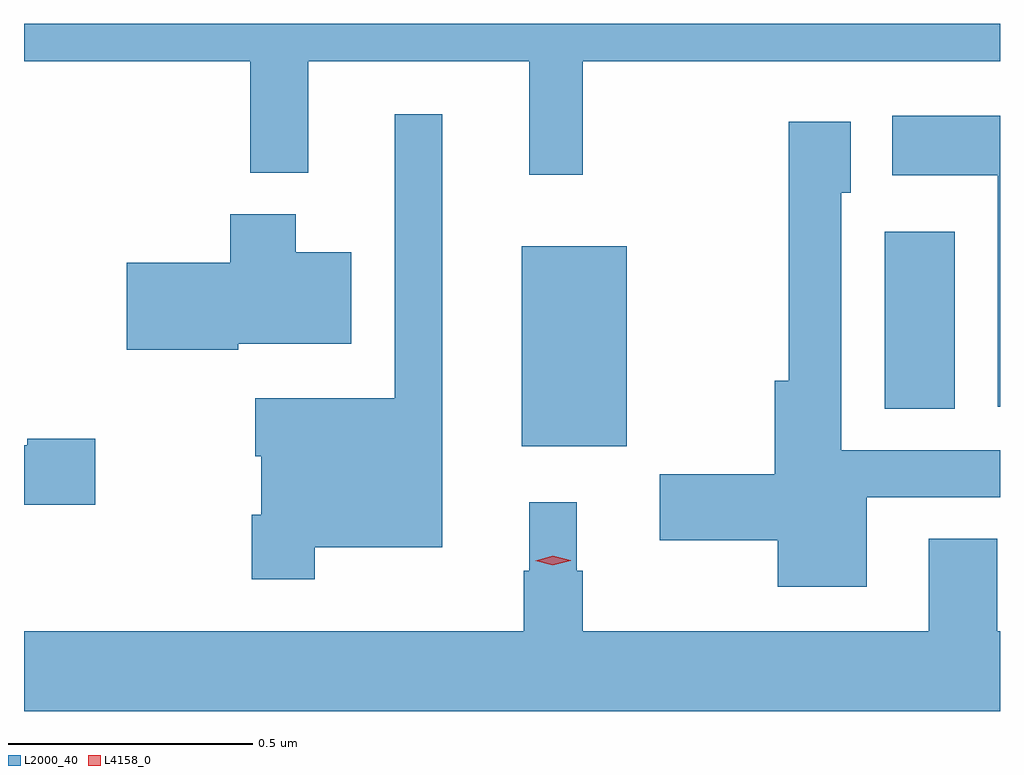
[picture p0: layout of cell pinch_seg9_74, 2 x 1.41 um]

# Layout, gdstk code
import gdstk
lib = gdstk.Library(unit=1e-6, precision=1e-09)
def R(c, l, rs):  # rectangles x0, y0, x1, y1
    for r in rs: c.add(gdstk.rectangle(r[:2], r[2:], *l))
def P(c, l, *ps):  # polygons
    for p in ps: c.add(gdstk.Polygon(p, *l))
L2000_40 = (2000, 40)
L4158_0 = (4158, 0)

pinch_seg9_74 = lib.new_cell('pinch_seg9_74')
R(pinch_seg9_74, L2000_40, [(1017.533,1194.299,1017.748,1194.709), (1018.277,1194.376,1018.42,1194.739)])
P(pinch_seg9_74, L2000_40, [(1017.658,1195.088),(1018.513,1195.088),(1018.513,1195.165),(1016.513,1195.165),(1016.513,1195.088),(1016.977,1195.088),(1016.977,1194.86),(1017.095,1194.86),(1017.095,1195.088),(1017.548,1195.088),(1017.548,1194.855),(1017.658,1194.855)],
  [(1017.109,1194.092),(1017.37,1194.092),(1017.37,1194.979),(1017.273,1194.979),(1017.273,1194.397),(1016.987,1194.397),(1016.987,1194.279),(1016.999,1194.279),(1016.999,1194.159),(1016.98,1194.159),(1016.98,1194.027),(1017.109,1194.027)],
  [(1018.513,1194.976),(1018.292,1194.976),(1018.292,1194.854),(1018.508,1194.854),(1018.508,1194.38),(1018.513,1194.38)],
  [(1018.24,1194.195),(1018.513,1194.195),(1018.513,1194.291),(1018.188,1194.291),(1018.188,1194.819),(1018.207,1194.819),(1018.207,1194.964),(1018.08,1194.964),(1018.08,1194.433),(1018.051,1194.433),(1018.051,1194.242),(1017.816,1194.242),(1017.816,1194.107),(1018.058,1194.107),(1018.058,1194.011),(1018.24,1194.011)],
  [(1016.952,1194.509),(1017.184,1194.509),(1017.184,1194.697),(1017.07,1194.697),(1017.07,1194.775),(1016.936,1194.775),(1016.936,1194.675),(1016.724,1194.675),(1016.724,1194.497),(1016.952,1194.497)],
  [(1016.659,1194.314),(1016.52,1194.314),(1016.52,1194.301),(1016.513,1194.301),(1016.513,1194.179),(1016.659,1194.179)],
  [(1018.513,1193.92),(1018.507,1193.92),(1018.507,1194.11),(1018.367,1194.11),(1018.367,1193.92),(1017.658,1193.92),(1017.658,1194.044),(1017.646,1194.044),(1017.646,1194.184),(1017.548,1194.184),(1017.548,1194.044),(1017.537,1194.044),(1017.537,1193.92),(1016.513,1193.92),(1016.513,1193.756),(1018.513,1193.756)])
P(pinch_seg9_74, L4158_0, [(1017.597,1194.055),(1017.561,1194.064),(1017.561,1194.064),(1017.561,1194.064),(1017.597,1194.075),(1017.633,1194.066),(1017.633,1194.065),(1017.633,1194.065)])

lib.write_gds('pinch_seg9_74.gds')
